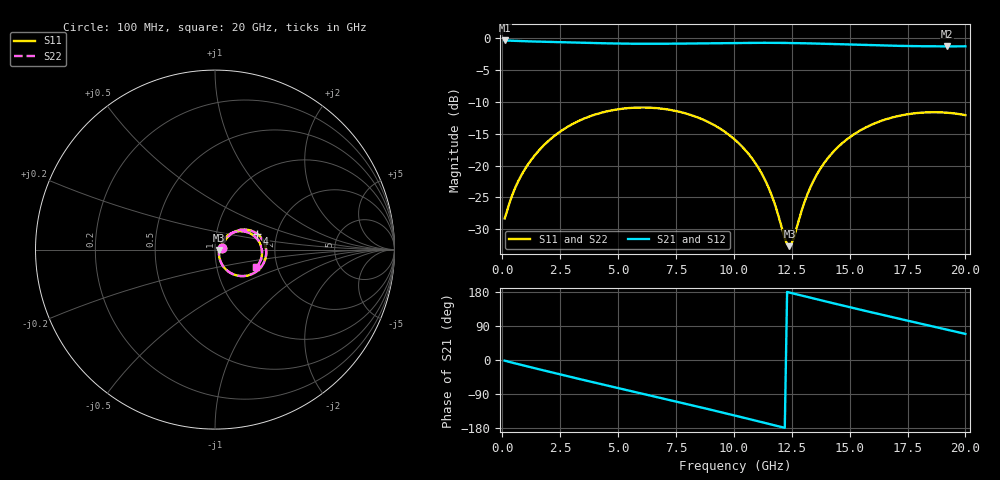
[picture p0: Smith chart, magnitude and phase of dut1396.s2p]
! Touchstone file exported from HFSS 2026.1.0
!  File:  C:/ffzhzh/LocalFiles/Ansys_Project_Files/temp_train_TSV_RDL_1396_1783350944_50076.aedt
!  Generated:  11:33:15 PM Jul  6, 2026
!  Design:  TSV_RDL
!  Project:  temp_train_TSV_RDL_1396_1783350944_50076
! Variables:
!  h_bsmrdl = 2.84um
!  h_ox = 20um
!  h_rdl = 5um
!  h_sub = 59.52um
!  h_tmrdl = 2.62um
!  h_tsv = 59.52um
!  h_via = 3um
!  l_bsmrdl = 633.1um
!  l_sub = 5095.96um
!  l_tmrdl = 666.93um
!  m_sub = 200um
!  pitch = 28.82um
!  r_tsv = 2.18um
!  s_tmrdl = 10um
!  w_bsmrdl = 21.19um
!  w_sub = 500um
!  w_tmrdl = 21.79um
!  x_tsv_center1 = 677.825um
!  x_tsv_center2 = 1332.115um
!  x_tsv_center3 = 2020.835um
!  x_tsv_center4 = 2675.125um
!  x_tsv_center5 = 3363.845um
!  x_tsv_center6 = 4018.135um
# GHz S MA R 50.000000
! Terminal data exported
! Port[1] = TM_RDL1_1_T1
! Port[2] = TM_RDL5_1_T1
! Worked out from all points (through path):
!   200 points, 100 MHz to 20 GHz, reference 50 ohm
!   highest |S21| = -0.33 dB at 100 MHz (marker M1); lowest = -1.3 dB at 19.2 GHz (marker M2)
!   group delay of S21, straight-line fit = 40.5 ps
!   lowest |S11| = -32.7 dB at 12.4 GHz (marker M3), VSWR 1.05, Z = 52.4 - j0.265 ohm
!   |S11| at or under -10 dB: start of sweep to end of sweep
!   |S22| runs from -32.6 to -10.9 dB; largest |S21 - S12| = 2.7e-14
!   S11 on the Smith chart (normalised r, x): 100 MHz: 1.08, +0.02; 4 GHz: 1.59, +0.29; 20 GHz: 1.55, -0.32
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0.1  0.03844 14.6  0.963 -1.7  0.963 -1.7  0.03844 14.6
! Gamma 0 0 0 0
! Port Impedance 50 0 50 0
0.7  0.07616 42.2  0.9525 -11.1  0.9525 -11.1  0.07616 42.2
1.4  0.1204 44.5  0.9446 -21.7  0.9446 -21.7  0.1204 44.5
2.4  0.1797 37.8  0.9343 -36.5  0.9343 -36.5  0.1797 37.8
3.5  0.233 26.0  0.9228 -52.6  0.9228 -52.6  0.233 26.0
4  0.2517 20.1  0.9181 -59.8  0.9181 -59.8  0.2517 20.1
5.4  0.2829 2.7  0.9088 -79.7  0.9088 -79.7  0.2829 2.7
6.8  0.2816 -15.1  0.907 -99.5  0.907 -99.5  0.2816 -15.1
8.4  0.2407 -35.7  0.9129 -122.4  0.9129 -122.4  0.2407 -35.7
10.1  0.1567 -56.3  0.9212 -147.4  0.9212 -147.4  0.1566 -56.3
10.8  0.113 -63.0  0.923 -157.9  0.923 -157.9  0.113 -62.9
11.3  0.08024 -65.1  0.9232 -165.4  0.9232 -165.4  0.08025 -65.0
11.7  0.05415 -62.3  0.9226 -171.5  0.9226 -171.5  0.05418 -62.1
12.2  0.02693 -35.1  0.9208 -179.0  0.9208 -179.0  0.02704 -34.9
12.4  0.02329 -6.2  0.9197 178.0  0.9197 178.0  0.02344 -6.2
13.4  0.07347 49.5  0.9122 163.0  0.9122 163.0  0.07355 49.4
14  0.1108 47.5  0.9061 154.1  0.9061 154.1  0.1109 47.4
14.7  0.1512 41.0  0.8983 143.8  0.8983 143.8  0.1512 41.0
16.7  0.2351 17.5  0.8767 115.1  0.8767 115.1  0.2352 17.4
17.9  0.2589 2.7  0.8685 98.3  0.8685 98.3  0.2589 2.6
19.2  0.2606 -13.4  0.8654 80.1  0.8654 80.1  0.2606 -13.5
20  0.2494 -23.1  0.8663 68.9  0.8663 68.9  0.2494 -23.3
